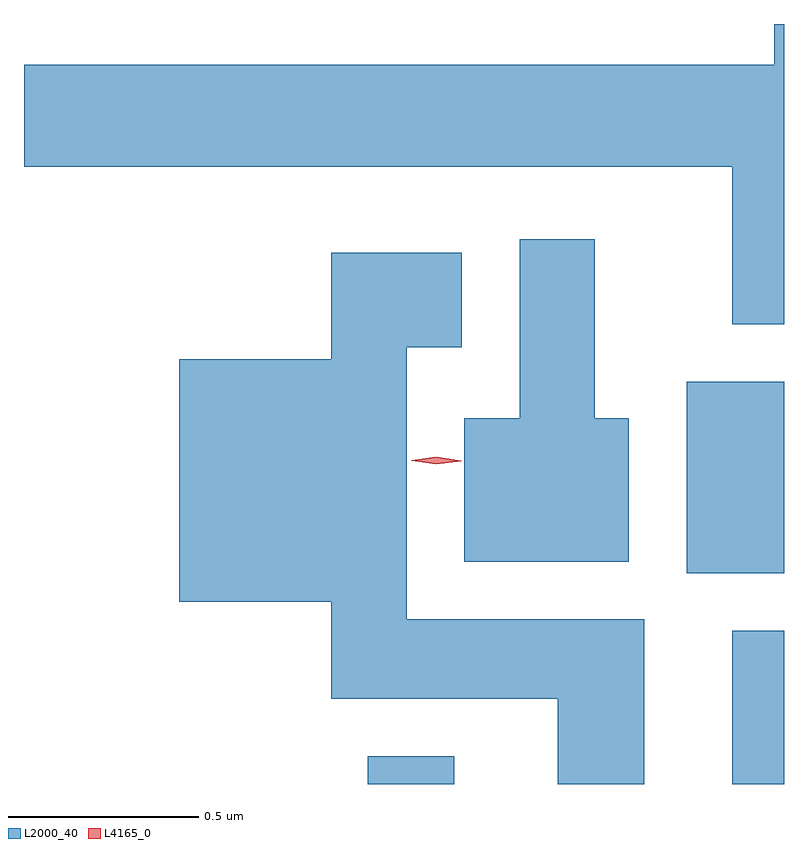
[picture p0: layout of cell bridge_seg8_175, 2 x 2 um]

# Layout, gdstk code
import gdstk
lib = gdstk.Library(unit=1e-6, precision=1e-09)
def R(c, l, rs):  # rectangles x0, y0, x1, y1
    for r in rs: c.add(gdstk.rectangle(r[:2], r[2:], *l))
def P(c, l, *ps):  # polygons
    for p in ps: c.add(gdstk.Polygon(p, *l))
L2000_40 = (2000, 40)
L4165_0 = (4165, 0)

bridge_seg8_175 = lib.new_cell('bridge_seg8_175')
R(bridge_seg8_175, L2000_40, [(1410.121,1936.911,1410.349,1936.984), (1411.081,1936.911,1411.217,1937.314), (1410.961,1937.466,1411.217,1937.969)])
P(bridge_seg8_175, L2000_40, [(1411.217,1938.911),(1411.191,1938.911),(1411.191,1938.804),(1409.217,1938.804),(1409.217,1938.536),(1411.081,1938.536),(1411.081,1938.121),(1411.217,1938.121)],
  [(1410.809,1937.874),(1410.719,1937.874),(1410.719,1938.344),(1410.521,1938.344),(1410.521,1937.874),(1410.376,1937.874),(1410.376,1937.496),(1410.809,1937.496)],
  [(1410.849,1937.344),(1410.224,1937.344),(1410.224,1938.061),(1410.369,1938.061),(1410.369,1938.309),(1410.026,1938.309),(1410.026,1938.029),(1409.626,1938.029),(1409.626,1937.391),(1410.026,1937.391),(1410.026,1937.136),(1410.621,1937.136),(1410.621,1936.911),(1410.849,1936.911)])
P(bridge_seg8_175, L4165_0, [(1410.302,1937.752),(1410.237,1937.762),(1410.236,1937.763),(1410.237,1937.763),(1410.302,1937.772),(1410.368,1937.762),(1410.368,1937.761),(1410.368,1937.761)])

lib.write_gds('bridge_seg8_175.gds')
